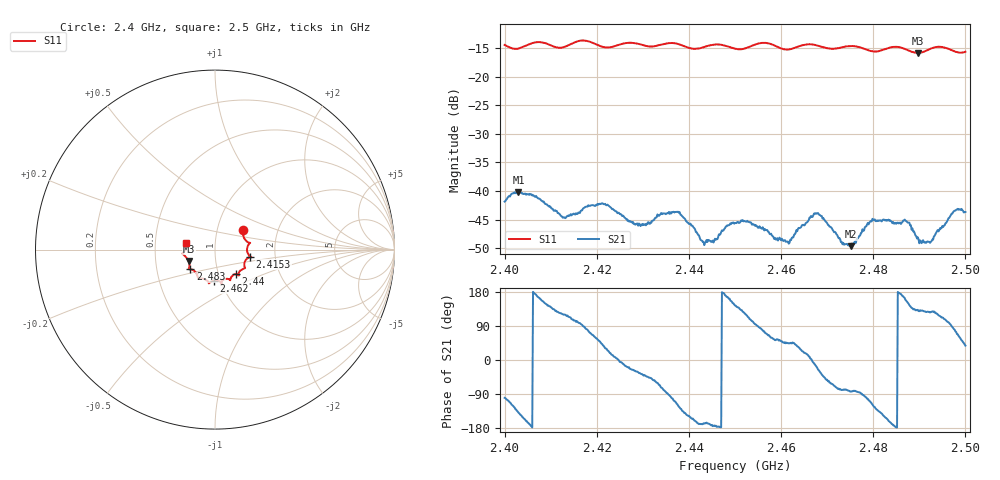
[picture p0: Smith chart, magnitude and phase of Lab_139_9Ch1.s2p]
# Hz S RI R 50
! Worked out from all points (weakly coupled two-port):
!   601 points, 2.4 GHz to 2.5 GHz, reference 50 ohm
!   highest |S21| = -40.20 dB at 2.403 GHz (marker M1); lowest = -49.6 dB at 2.4752 GHz (marker M2)
!   lowest |S11| = -15.9 dB at 2.4897 GHz (marker M3), VSWR 1.38, Z = 36.9 - j4.84 ohm
!   |S11| at or under -10 dB: start of sweep to end of sweep
!   S12 and S22 are empty: the file has one direction only
!   S11 on the Smith chart (normalised r, x): 2.4 GHz: 1.33, +0.29; 2.4153 GHz: 1.48, -0.12; 2.44 GHz: 1.21, -0.34; 2.462 GHz: 0.93, -0.33; 2.483 GHz: 0.74, -0.17; 2.5 GHz: 0.72, +0.06
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2.4e9  0.1557 0.1066  -0.00137 -0.00798  0 0  0 0
2.403e9  0.165 0.0594  -0.00734 -0.00644  0 0  0 0
2.415333e9  0.196 -0.0386  -0.00146 0.00606  0 0  0 0
2.416667e9  0.2017 -0.0425  -0.000463 0.00676  0 0  0 0
2.4215e9  0.171 -0.0583  0.00612 0.00465  0 0  0 0
2.429333e9  0.1589 -0.1067  0.0042 -0.00289  0 0  0 0
2.433333e9  0.1312 -0.1336  0.00282 -0.00542  0 0  0 0
2.4375e9  0.131 -0.1418  -0.00299 -0.00586  0 0  0 0
2.44e9  0.1142 -0.1368  -0.00434 -0.00281  0 0  0 0
2.4435e9  0.0875 -0.1597  -0.00344 -0.000821  0 0  0 0
2.45e9  0.0646 -0.1629  -0.00424 0.00312  0 0  0 0
2.462e9  -0.0051 -0.1732  0.0027 0.00262  0 0  0 0
2.466667e9  -0.0344 -0.1877  0.00593 1.73e-05  0 0  0 0
2.475167e9  -0.0926 -0.1597  0.000383 -0.00328  0 0  0 0
2.479667e9  -0.1074 -0.1271  -0.00227 -0.00493  0 0  0 0
2.483e9  -0.1373 -0.1098  -0.00506 -0.00233  0 0  0 0
2.483333e9  -0.1399 -0.1095  -0.00531 -0.00186  0 0  0 0
2.487333e9  -0.1429 -0.094  -0.00484 0.00237  0 0  0 0
2.489667e9  -0.1473 -0.0639  -0.00266 0.00291  0 0  0 0
2.4925e9  -0.1726 -0.0308  -0.00215 0.0029  0 0  0 0
2.4975e9  -0.1667 -0.00108  0.00096 0.00661  0 0  0 0
2.5e9  -0.1598 0.039  0.00517 0.00405  0 0  0 0
